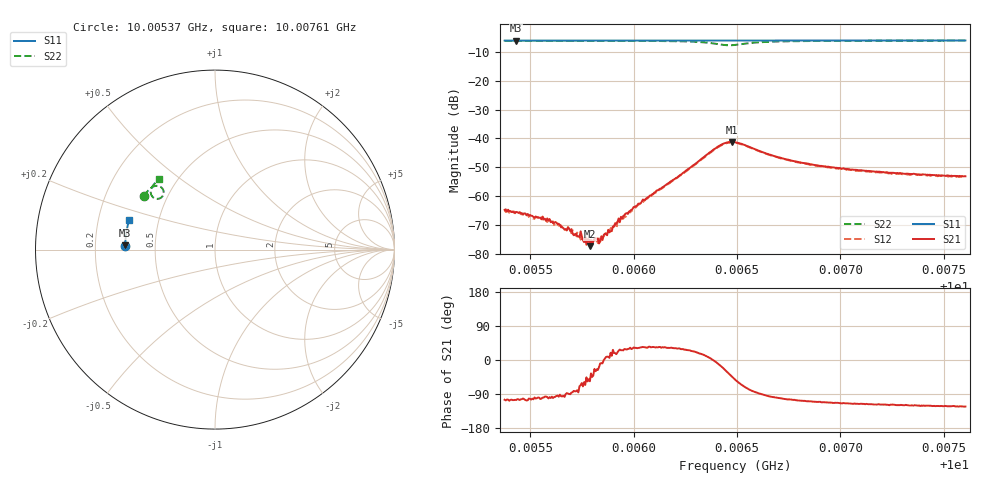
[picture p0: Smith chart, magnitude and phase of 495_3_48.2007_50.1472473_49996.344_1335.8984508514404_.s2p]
#  HZ  S  RI  R  50.00
! Rohde & Schwarz Vector Network Analyzer
! Rohde-Schwarz,ZNB20-2Port,1311601062101988,3.16
! Created: UTC 3/20/2024, 11:58:14 AM
! freq[Hz]  re:S11  im:S11  re:S21  im:S21  re:S12  im:S12  re:S22  im:S22
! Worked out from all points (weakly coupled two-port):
!   401 points, 10.00537 GHz to 10.00761 GHz, reference 50 ohm
!   highest |S21| = -41.18 dB at 10.00647 GHz (marker M1); lowest = -77.4 dB at 10.00579 GHz (marker M2)
!   lowest |S11| = -6.0 dB at 10.00543 GHz (marker M3), VSWR 3.01, Z = 16.6 + j1.1 ohm
!   |S11| at or under -10 dB: nowhere
!   |S22| runs from -7.6 to -6.0 dB; largest |S21 - S12| = 0.00053
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1.0005375e10  -0.5006 0.0212  -0.000148 -0.000557  -0.000131 -0.000558  -0.3956 0.2992
1.0005431e10  -0.5002 0.0248  -0.000142 -0.000508  -0.000106 -0.000519  -0.3933 0.3023
1.0005598e10  -0.4999 0.0358  -6.31e-05 -0.000346  -4.06e-05 -0.000373  -0.3861 0.3122
1.0005631e10  -0.4999 0.038  -2.44e-05 -0.000324  -1.01e-06 -0.000334  -0.3844 0.3143
1.0005665e10  -0.4998 0.0403  -3.34e-05 -0.000259  -6.94e-06 -0.000266  -0.3829 0.3165
1.0005693e10  -0.4998 0.042  -1.14e-06 -0.000246  1.56e-05 -0.000271  -0.3815 0.3182
1.0005715e10  -0.4998 0.0434  2.74e-05 -0.000213  2.83e-05 -0.00021  -0.3804 0.3196
1.0005748e10  -0.4995 0.0457  9.74e-05 -0.000174  6.5e-05 -0.000172  -0.3786 0.3215
1.0005765e10  -0.4994 0.0468  7.63e-05 -0.00017  8.81e-05 -0.000154  -0.3778 0.3225
1.0005787e10  -0.4993 0.0482  7.5e-05 -0.000112  0.000115 -0.000125  -0.3766 0.324
1.0005804e10  -0.4993 0.0493  0.000123 -0.000106  0.000125 -0.000117  -0.3758 0.3251
1.0005838e10  -0.4991 0.0514  0.000163 -2.59e-05  0.000157 -3.65e-05  -0.3739 0.3273
1.0005882e10  -0.4989 0.0543  0.000232 2.33e-05  0.000237 8.71e-05  -0.3712 0.33
1.0005949e10  -0.4985 0.0587  0.000408 0.000193  0.000351 0.000204  -0.3669 0.3345
1.0006122e10  -0.4974 0.0699  0.00108 0.000733  0.00101 0.000747  -0.3524 0.3464
1.0006406e10  -0.4945 0.088  0.00712 -0.00113  0.00699 -0.000736  -0.2874 0.3292
1.0006473e10  -0.4938 0.0918  0.00639 -0.00595  0.00652 -0.00549  -0.3019 0.2883
1.000649e10  -0.4936 0.0928  0.00536 -0.00676  0.00561 -0.00635  -0.3124 0.2838
1.0006713e10  -0.492 0.107  -0.000884 -0.0045  -0.000678 -0.00443  -0.3575 0.3296
1.0006864e10  -0.4902 0.1168  -0.00119 -0.00332  -0.00101 -0.0033  -0.3506 0.3483
1.0007237e10  -0.4846 0.1404  -0.00124 -0.00222  -0.00106 -0.00225  -0.3309 0.3748
1.0007605e10  -0.4783 0.1631  -0.00119 -0.00185  -0.00106 -0.00188  -0.3117 0.3936
